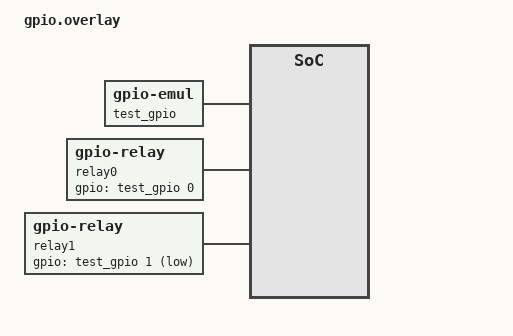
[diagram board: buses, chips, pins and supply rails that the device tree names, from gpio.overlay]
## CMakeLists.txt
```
# Copyright (c) 2026 Siemens AG
# SPDX-License-Identifier: Apache-2.0

cmake_minimum_required(VERSION 3.20.0)

find_package(Zephyr REQUIRED HINTS $ENV{ZEPHYR_BASE})
project(relay)

file(GLOB app_sources src/*.c)
target_sources(app PRIVATE ${app_sources})
```

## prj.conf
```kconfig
# Copyright (c) 2026 Siemens AG
# SPDX-License-Identifier: Apache-2.0

CONFIG_ZTEST=y
CONFIG_RELAY=y
```

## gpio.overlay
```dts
/*
 * Copyright (c) 2026 Siemens AG
 *
 * SPDX-License-Identifier: Apache-2.0
 */

#include <zephyr/dt-bindings/gpio/gpio.h>

/ {
	test_gpio: test-gpio {
		compatible = "zephyr,gpio-emul";
		gpio-controller;
		#gpio-cells = <2>;
		ngpios = <2>;
		status = "okay";
	};

	relay0: relay-0 {
		compatible = "zephyr,gpio-relay";
		gpios = <&test_gpio 0 GPIO_ACTIVE_HIGH>;
		status = "okay";
	};

	relay1: relay-1 {
		compatible = "zephyr,gpio-relay";
		gpios = <&test_gpio 1 GPIO_ACTIVE_LOW>;
		status = "okay";
	};
};
```

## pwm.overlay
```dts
/*
 * Copyright (c) 2026 Siemens AG
 *
 * SPDX-License-Identifier: Apache-2.0
 */

#include <zephyr/dt-bindings/pwm/pwm.h>

/ {
	fake_pwm: pwm {
		compatible = "zephyr,fake-pwm";
		#pwm-cells = <2>;
		frequency = <1000000>;
		status = "okay";
	};

	relay_pwm_simple: relay-pwm-simple {
		compatible = "zephyr,pwm-relay";
		pwms = <&fake_pwm 0 PWM_MSEC(20)>;
		status = "okay";
	};

	relay_pwm_profile: relay-pwm-profile {
		compatible = "zephyr,pwm-relay";
		pwms = <&fake_pwm 1 PWM_MSEC(20)>;
		pull-in-time-ms = <50>;
		pull-in-duty-percent = <100>;
		hold-duty-percent = <50>;
		status = "okay";
	};

	relay_pwm_refresh: relay-pwm-refresh {
		compatible = "zephyr,pwm-relay";
		pwms = <&fake_pwm 2 PWM_MSEC(20)>;
		pull-in-time-ms = <50>;
		pull-in-duty-percent = <100>;
		hold-duty-percent = <40>;
		refresh-interval-ms = <50>;
		status = "okay";
	};
};
```

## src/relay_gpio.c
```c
/*
 * Copyright (c) 2026 Siemens AG
 *
 * SPDX-License-Identifier: Apache-2.0
 *
 * GPIO relay backend test.
 */

#include <zephyr/device.h>
#include <zephyr/devicetree.h>
#include <zephyr/drivers/gpio.h>
#include <zephyr/drivers/gpio/gpio_emul.h>
#include <zephyr/drivers/relay/relay.h>
#include <zephyr/ztest.h>

#define RELAY_ACTIVE_HIGH DT_NODELABEL(relay0)
#define RELAY_ACTIVE_LOW  DT_NODELABEL(relay1)

BUILD_ASSERT(DT_NODE_EXISTS(RELAY_ACTIVE_HIGH) && DT_NODE_EXISTS(RELAY_ACTIVE_LOW),
	     "board overlay must define relay0 (active-high) and relay1 (active-low)");

static const struct device *const relay_active_high = DEVICE_DT_GET(RELAY_ACTIVE_HIGH);
static const struct device *const relay_active_low = DEVICE_DT_GET(RELAY_ACTIVE_LOW);
static const struct gpio_dt_spec coil_active_high = GPIO_DT_SPEC_GET(RELAY_ACTIVE_HIGH, gpios);
static const struct gpio_dt_spec coil_active_low = GPIO_DT_SPEC_GET(RELAY_ACTIVE_LOW, gpios);

ZTEST(relay_gpio, test_devices_ready)
{
	zassert_true(device_is_ready(relay_active_high), "active-high relay not ready");
	zassert_true(device_is_ready(relay_active_low), "active-low relay not ready");
}

ZTEST(relay_gpio, test_initial_state_off)
{
	bool on;

	zassert_ok(relay_get_state(relay_active_high, &on), "get_state failed");
	zassert_false(on, "relay should power up off");
	zassert_ok(relay_get_state(relay_active_low, &on), "get_state failed");
	zassert_false(on, "relay should power up off");
	zassert_equal(gpio_emul_output_get_dt(&coil_active_high), 0,
		      "active-high coil should be de-energised at init");
	zassert_equal(gpio_emul_output_get_dt(&coil_active_low), 1,
		      "active-low coil line should idle high at init");
}

ZTEST(relay_gpio, test_set_state_active_high)
{
	bool on;

	zassert_ok(relay_set_state(relay_active_high, true), "set on failed");
	zassert_ok(relay_get_state(relay_active_high, &on), "get_state failed");
	zassert_true(on, "state should read back on");
	zassert_equal(gpio_emul_output_get_dt(&coil_active_high), 1,
		      "active-high coil line should be high when on");

	zassert_ok(relay_set_state(relay_active_high, false), "set off failed");
	zassert_ok(relay_get_state(relay_active_high, &on), "get_state failed");
	zassert_false(on, "state should read back off");
	zassert_equal(gpio_emul_output_get_dt(&coil_active_high), 0,
		      "active-high coil line should be low when off");
}

ZTEST(relay_gpio, test_set_state_active_low)
{
	bool on;

	zassert_ok(relay_set_state(relay_active_low, true), "set on failed");
	zassert_ok(relay_get_state(relay_active_low, &on), "get_state failed");
	zassert_true(on, "state should read back on");
	zassert_equal(gpio_emul_output_get_dt(&coil_active_low), 0,
		      "active-low coil line should be low when on");

	zassert_ok(relay_set_state(relay_active_low, false), "set off failed");
	zassert_ok(relay_get_state(relay_active_low, &on), "get_state failed");
	zassert_false(on, "state should read back off");
	zassert_equal(gpio_emul_output_get_dt(&coil_active_low), 1,
		      "active-low coil line should be high when off");
}

ZTEST_SUITE(relay_gpio, NULL, NULL, NULL, NULL, NULL);
```

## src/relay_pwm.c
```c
/*
 * Copyright (c) 2026 Siemens AG
 *
 * SPDX-License-Identifier: Apache-2.0
 *
 * PWM relay backend test.
 */

#include <zephyr/device.h>
#include <zephyr/devicetree.h>
#include <zephyr/drivers/pwm.h>
#include <zephyr/drivers/pwm/pwm_fake.h>
#include <zephyr/drivers/relay/relay.h>
#include <zephyr/fff.h>
#include <zephyr/kernel.h>
#include <zephyr/ztest.h>

#if DT_HAS_COMPAT_STATUS_OKAY(zephyr_pwm_relay)

DEFINE_FFF_GLOBALS;

#define RELAY_SIMPLE  DT_NODELABEL(relay_pwm_simple)
#define RELAY_PROFILE DT_NODELABEL(relay_pwm_profile)
#define RELAY_REFRESH DT_NODELABEL(relay_pwm_refresh)

BUILD_ASSERT(DT_NODE_EXISTS(RELAY_SIMPLE) && DT_NODE_EXISTS(RELAY_PROFILE) &&
		     DT_NODE_EXISTS(RELAY_REFRESH),
	     "board overlay must define relay_pwm_simple, relay_pwm_profile and "
	     "relay_pwm_refresh");

/* Time to let the reconcile work item run after a state change. */
#define SETTLE_MS           20
/* Pull-in window of the profile relay, taken from the overlay. */
#define PROFILE_PULL_IN_MS  DT_PROP(RELAY_PROFILE, pull_in_time_ms)
/* Timing and hold duty of the refresh relay, taken from the overlay. */
#define REFRESH_PULL_IN_MS  DT_PROP(RELAY_REFRESH, pull_in_time_ms)
#define REFRESH_INTERVAL_MS DT_PROP(RELAY_REFRESH, refresh_interval_ms)
#define REFRESH_HOLD_DUTY   DT_PROP(RELAY_REFRESH, hold_duty_percent)

static const struct device *const relay_simple = DEVICE_DT_GET(RELAY_SIMPLE);
static const struct device *const relay_profile = DEVICE_DT_GET(RELAY_PROFILE);
static const struct device *const relay_refresh = DEVICE_DT_GET(RELAY_REFRESH);

/* Duty last programmed on the coil, as a percentage of the PWM period. */
static uint32_t last_duty_percent(void)
{
	uint32_t period = fake_pwm_set_cycles_fake.arg2_val;
	uint32_t pulse = fake_pwm_set_cycles_fake.arg3_val;

	zassert_true(period > 0, "no PWM period programmed");
	return (uint32_t)(((uint64_t)pulse * 100) / period);
}

ZTEST(relay_pwm, test_devices_ready)
{
	zassert_true(device_is_ready(relay_simple), "simple relay not ready");
	zassert_true(device_is_ready(relay_profile), "profile relay not ready");
	zassert_true(device_is_ready(relay_refresh), "refresh relay not ready");
}

ZTEST(relay_pwm, test_simple_on_off)
{
	bool on;

	zassert_ok(relay_set_state(relay_simple, true), "set on failed");
	k_msleep(SETTLE_MS);
	zassert_true(fake_pwm_set_cycles_fake.call_count > 0, "coil not driven");
	zassert_equal(last_duty_percent(), 100, "on should hold the coil at full duty");
	zassert_ok(relay_get_state(relay_simple, &on), "get_state failed");
	zassert_true(on, "state should read back on");

	zassert_ok(relay_set_state(relay_simple, false), "set off failed");
	k_msleep(SETTLE_MS);
	zassert_equal(last_duty_percent(), 0, "off should release the coil");
	zassert_ok(relay_get_state(relay_simple, &on), "get_state failed");
	zassert_false(on, "state should read back off");
}

ZTEST(relay_pwm, test_profile_pull_in_then_hold)
{
	bool on;

	zassert_ok(relay_set_state(relay_profile, true), "set on failed");

	/* Still inside the pull-in window: the coil is driven at pull-in duty. */
	k_msleep(SETTLE_MS);
	zassert_equal(last_duty_percent(), 100, "pull-in should drive full duty");

	/* After the pull-in window it drops to the lower hold duty. */
	k_msleep(PROFILE_PULL_IN_MS);
	zassert_equal(last_duty_percent(), 50, "hold should drive the hold duty");
	zassert_ok(relay_get_state(relay_profile, &on), "get_state failed");
	zassert_true(on, "state should stay on across phases");

	zassert_ok(relay_set_state(relay_profile, false), "set off failed");
	k_msleep(SETTLE_MS);
	zassert_equal(last_duty_percent(), 0, "off should release the coil");
	zassert_ok(relay_get_state(relay_profile, &on), "get_state failed");
	zassert_false(on, "state should read back off");
}

ZTEST(relay_pwm, test_refresh_repulses_coil)
{
	zassert_ok(relay_set_state(relay_refresh, true), "set on failed");

	/* Initial pull-in pulse. */
	k_msleep(SETTLE_MS);
	zassert_equal(last_duty_percent(), 100, "pull-in should drive full duty");

	/* Settles to the hold duty after the pull-in window. */
	k_msleep(REFRESH_PULL_IN_MS);
	zassert_equal(last_duty_percent(), REFRESH_HOLD_DUTY, "should settle to hold duty");

	/* A refresh re-applies the pull-in pulse. */
	k_msleep(REFRESH_INTERVAL_MS);
	zassert_equal(last_duty_percent(), 100, "refresh should re-pulse at pull-in duty");

	/* And drops back to the hold duty after the pull-in window. */
	k_msleep(REFRESH_PULL_IN_MS);
	zassert_equal(last_duty_percent(), REFRESH_HOLD_DUTY, "should settle back to hold duty");

	zassert_ok(relay_set_state(relay_refresh, false), "set off failed");
	k_msleep(SETTLE_MS);
	zassert_equal(last_duty_percent(), 0, "off should release the coil");
}

ZTEST(relay_pwm, test_drive_error_reaches_caller)
{
	bool on;

	/* A coil-drive failure in the commanded transition reaches the caller
	 * synchronously instead of being reported as success.
	 */
	fake_pwm_set_cycles_fake.return_val = -EIO;
	zassert_equal(relay_set_state(relay_simple, true), -EIO,
		      "set_state should return the coil-drive error");

	/* The latched failure is also surfaced on read-back. */
	zassert_equal(relay_get_state(relay_simple, &on), -EIO,
		      "get_state should surface the latched drive error");

	/* A subsequent successful drive clears the latch. */
	fake_pwm_set_cycles_fake.return_val = 0;
	zassert_ok(relay_set_state(relay_simple, false), "recovery set off failed");
	zassert_ok(relay_get_state(relay_simple, &on), "latched error should clear on success");
	zassert_false(on, "state should read back off");
}

ZTEST_SUITE(relay_pwm, NULL, NULL, NULL, NULL, NULL);

#endif /* DT_HAS_COMPAT_STATUS_OKAY(zephyr_pwm_relay) */
```
